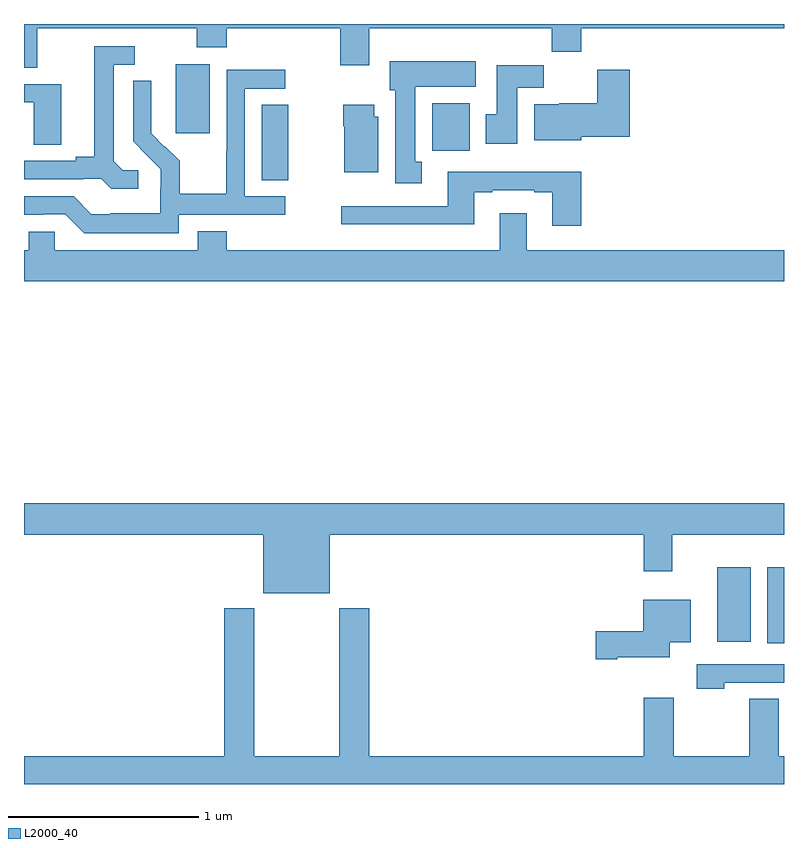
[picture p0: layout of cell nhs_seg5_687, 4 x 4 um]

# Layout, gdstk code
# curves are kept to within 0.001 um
import gdstk
lib = gdstk.Library(unit=1e-6, precision=1e-09)
def R(c, l, rs):  # rectangles x0, y0, x1, y1
    for r in rs: c.add(gdstk.rectangle(r[:2], r[2:], *l))
def P(c, l, *ps):  # polygons
    for p in ps: c.add(gdstk.Polygon(p, *l))
L2000_40 = (2000, 40)

nhs_seg5_687 = lib.new_cell('nhs_seg5_687')
R(nhs_seg5_687, L2000_40, [(158.912,837.54,159,837.94), (158.648,837.548,158.824,837.94), (156.251,839.977,156.39,840.374), (157.149,840.132,157.345,840.382), (155.798,840.225,155.977,840.586)])
P(nhs_seg5_687, L2000_40, [(155.071,840.776),(155.908,840.776),(155.908,840.677),(156.068,840.677),(156.068,840.776),(156.665,840.776),(156.665,840.582),(156.817,840.582),(156.817,840.776),(157.777,840.776),(157.777,840.652),(157.934,840.652),(157.934,840.776),(159,840.776),(159,840.799),(155,840.799),(155,840.568),(155.071,840.568)],
  [(155.602,840.03),(155.52,840.03),(155.473,840.077),(155.473,840.585),(155.584,840.585),(155.584,840.681),(155.369,840.681),(155.369,840.101),(155.273,840.101),(155.273,840.078),(155,840.078),(155,839.982),(155.312,839.982),(155.312,839.985),(155.406,839.985),(155.458,839.933),(155.602,839.933)],
  [(157.093,840.073),(157.06,840.073),(157.06,840.47),(157.378,840.47),(157.378,840.604),(156.926,840.604),(156.926,840.45),(156.953,840.45),(156.953,839.961),(157.093,839.961)],
  [(157.597,840.464),(157.736,840.464),(157.736,840.583),(157.487,840.583),(157.487,840.324),(157.43,840.324),(157.43,840.168),(157.597,840.168)],
  [(157.932,840.206),(158.189,840.206),(158.189,840.559),(158.018,840.559),(158.018,840.382),(157.818,840.382),(157.818,840.376),(157.685,840.376),(157.685,840.188),(157.932,840.188)],
  [(155.814,839.796),(156.376,839.796),(156.376,839.892),(156.162,839.892),(156.162,840.459),(156.376,840.459),(156.376,840.558),(156.066,840.558),(156.066,840.128),(156.064,840.128),(156.064,839.905),(155.819,839.905),(155.819,840.079),(155.742,840.156),(155.739,840.153),(155.669,840.224),(155.67,840.5),(155.574,840.5),(155.574,840.182),(155.72,840.034),(155.72,839.937),(155.718,839.937),(155.718,839.803),(155.455,839.803),(155.455,839.799),(155.355,839.799),(155.262,839.892),(155,839.892),(155,839.796),(155.102,839.796),(155.102,839.799),(155.217,839.799),(155.317,839.699),(155.814,839.699)],
  [(155.197,840.483),(155,840.483),(155,840.387),(155.052,840.387),(155.052,840.163),(155.197,840.163)],
  [(156.865,840.312),(156.844,840.312),(156.844,840.373),(156.679,840.373),(156.679,840.26),(156.686,840.26),(156.686,840.02),(156.865,840.02)],
  [(157.934,840.022),(157.229,840.022),(157.229,839.841),(156.669,839.841),(156.669,839.744),(157.369,839.744),(157.369,839.913),(157.465,839.913),(157.465,839.925),(157.685,839.925),(157.685,839.913),(157.781,839.913),(157.781,839.736),(157.934,839.736)],
  [(159,839.608),(157.645,839.608),(157.645,839.803),(157.505,839.803),(157.505,839.608),(156.068,839.608),(156.068,839.707),(155.915,839.707),(155.915,839.608),(155.163,839.608),(155.163,839.706),(155.025,839.706),(155.025,839.608),(155,839.608),(155,839.444),(159,839.444)],
  [(156.61,838.112),(158.261,838.112),(158.261,837.918),(158.413,837.918),(158.413,838.112),(159,838.112),(159,838.276),(155,838.276),(155,838.112),(156.26,838.112),(156.26,837.803),(156.61,837.803)],
  [(158.122,837.467),(158.398,837.467),(158.398,837.545),(158.509,837.545),(158.509,837.769),(158.258,837.769),(158.258,837.602),(158.01,837.602),(158.01,837.455),(158.122,837.455)],
  [(156.818,837.724),(156.658,837.724),(156.658,836.944),(156.213,836.944),(156.213,837.724),(156.053,837.724),(156.053,836.944),(155,836.944),(155,836.799),(159,836.799),(159,836.944),(158.972,836.944),(158.972,837.248),(158.818,837.248),(158.818,836.944),(158.421,836.944),(158.421,837.253),(158.261,837.253),(158.261,836.944),(156.818,836.944)],
  [(158.685,837.333),(159,837.333),(159,837.429),(158.541,837.429),(158.541,837.301),(158.685,837.301)])

lib.write_gds('nhs_seg5_687.gds')
